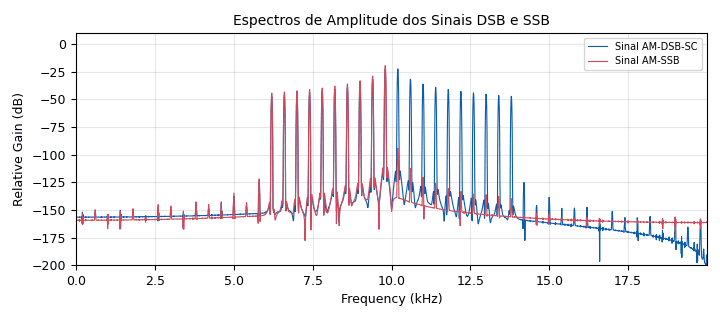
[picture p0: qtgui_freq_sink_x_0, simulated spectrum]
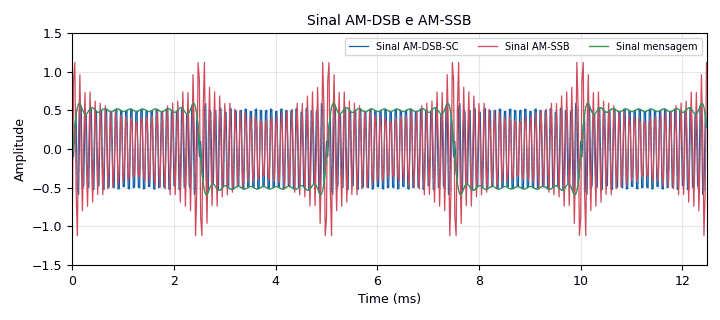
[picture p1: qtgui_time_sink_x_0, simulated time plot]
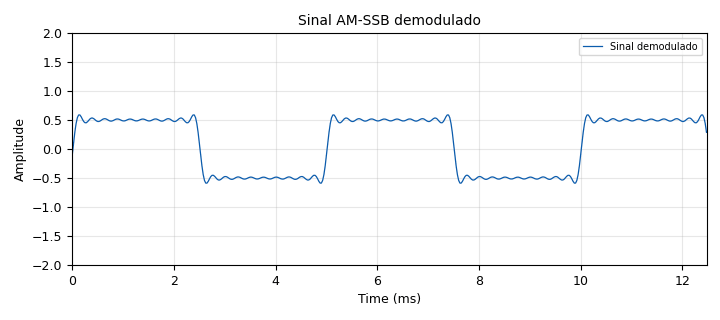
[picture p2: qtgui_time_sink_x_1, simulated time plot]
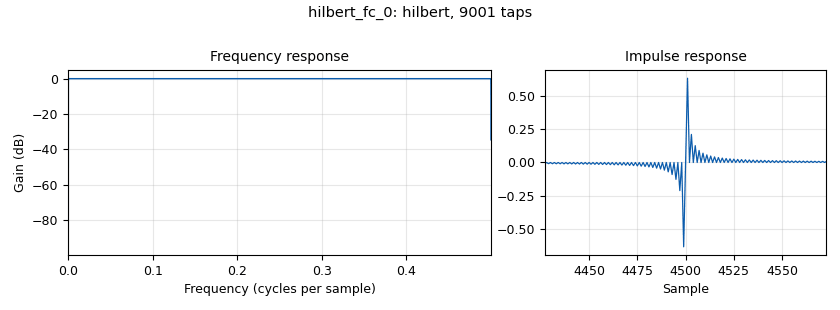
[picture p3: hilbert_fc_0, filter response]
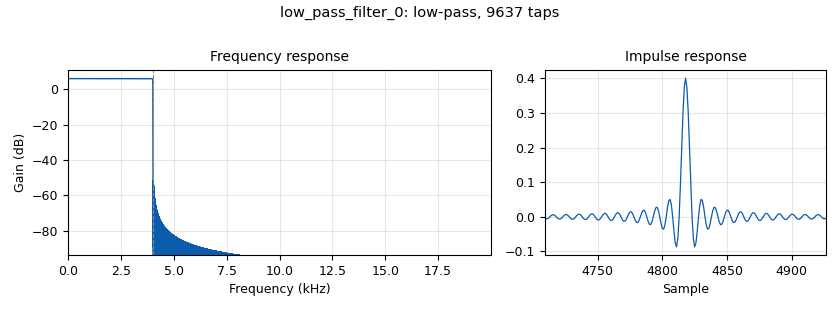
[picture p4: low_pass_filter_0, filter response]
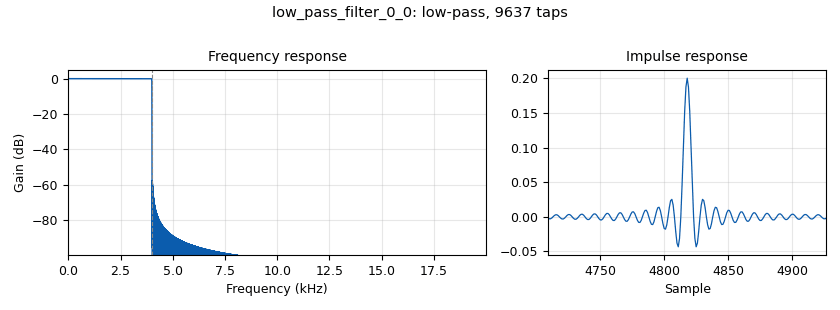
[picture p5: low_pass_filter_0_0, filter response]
options:
  parameters:
    category: Custom
    generate_options: qt_gui
    id: Labo3_3
    output_language: python
    title: Modulação AM-SSB
  states: {}

blocks:
- name: samp_rate
  id: variable
  parameters:
    value: '40000'
  states: {}
- name: Portadora
  id: analog_sig_source_x
  parameters:
    amp: '1'
    freq: '10000'
    offset: '0'
    phase: 3.14/4
    samp_rate: samp_rate
    type: complex
    waveform: analog.GR_COS_WAVE
  states: {}
- name: Sinal_Modulante
  id: analog_sig_source_x
  parameters:
    amp: '1'
    freq: '200'
    offset: '-0.5'
    phase: '0'
    samp_rate: samp_rate
    type: float
    waveform: analog.GR_SQR_WAVE
  states: {}
- name: blocks_add_xx_0_0
  id: blocks_add_xx
  parameters:
    type: float
  states: {}
- name: blocks_complex_to_imag_0
  id: blocks_complex_to_imag
  parameters: {}
  states: {}
- name: blocks_complex_to_imag_0_0
  id: blocks_complex_to_imag
  parameters: {}
  states: {}
- name: blocks_complex_to_real_0_0
  id: blocks_complex_to_real
  parameters: {}
  states: {}
- name: blocks_multiply_const_vxx_0
  id: blocks_multiply_const_vxx
  parameters:
    const: '1.414'
    type: float
  states: {}
- name: blocks_multiply_xx_0_0
  id: blocks_multiply_xx
  parameters:
    type: float
  states: {}
- name: blocks_multiply_xx_0_0_0
  id: blocks_multiply_xx
  parameters:
    type: float
  states: {}
- name: blocks_multiply_xx_0_0_1
  id: blocks_multiply_xx
  parameters:
    type: float
  states: {}
- name: blocks_throttle_0
  id: blocks_throttle
  parameters:
    samples_per_second: samp_rate
    type: float
  states: {}
- name: dc_blocker_xx_0
  id: dc_blocker_xx
  parameters:
    length: '512'
    long_form: 'True'
    type: ff
  states: {}
- name: hilbert_fc_0
  id: hilbert_fc
  parameters:
    num_taps: '9001'
  states: {}
- name: low_pass_filter_0
  id: low_pass_filter
  parameters:
    cutoff_freq: '4000'
    decim: '1'
    gain: '2'
    samp_rate: samp_rate
    type: fir_filter_fff
    width: '10'
    win: window.WIN_HAMMING
  states: {}
- name: low_pass_filter_0_0
  id: low_pass_filter
  parameters:
    cutoff_freq: '4000'
    decim: '1'
    gain: '1'
    samp_rate: samp_rate
    type: fir_filter_fff
    width: '10'
    win: window.WIN_HAMMING
  states: {}
- name: qtgui_freq_sink_x_0
  id: qtgui_freq_sink_x
  parameters:
    bw: samp_rate
    fc: '0'
    fftsize: '4096'
    freqhalf: 'False'
    grid: 'True'
    gui_hint: 0,1,1,1
    label1: Sinal AM-DSB-SC
    label2: Sinal AM-SSB
    name: Espectros de Amplitude dos Sinais DSB e SSB
    nconnections: '2'
    showports: 'True'
    type: float
    ymin: '-200'
  states: {}
- name: qtgui_time_sink_x_0
  id: qtgui_time_sink_x
  parameters:
    color3: black
    grid: 'True'
    gui_hint: 0,0,1,1
    label1: Sinal AM-DSB-SC
    label2: Sinal AM-SSB
    label3: Sinal mensagem
    name: Sinal AM-DSB e AM-SSB
    nconnections: '3'
    size: '500'
    srate: samp_rate
    tr_chan: '2'
    tr_level: '0.1'
    tr_mode: qtgui.TRIG_MODE_AUTO
    type: float
    ymax: '1.5'
    ymin: '-1.5'
  states: {}
- name: qtgui_time_sink_x_1
  id: qtgui_time_sink_x
  parameters:
    label1: Sinal demodulado
    name: Sinal AM-SSB demodulado
    size: '500'
    srate: samp_rate
    tr_level: '0.01'
    tr_mode: qtgui.TRIG_MODE_AUTO
    type: float
    ymax: '2'
    ymin: '-2'
  states: {}

connections:
- [Portadora, '0', blocks_complex_to_imag_0, '0']
- [Portadora, '0', blocks_complex_to_real_0_0, '0']
- [Sinal_Modulante, '0', low_pass_filter_0_0, '0']
- [blocks_add_xx_0_0, '0', blocks_multiply_xx_0_0_1, '0']
- [blocks_add_xx_0_0, '0', qtgui_freq_sink_x_0, '1']
- [blocks_add_xx_0_0, '0', qtgui_time_sink_x_0, '1']
- [blocks_complex_to_imag_0, '0', blocks_multiply_xx_0_0, '1']
- [blocks_complex_to_imag_0, '0', blocks_multiply_xx_0_0_1, '1']
- [blocks_complex_to_imag_0_0, '0', blocks_multiply_xx_0_0_0, '0']
- [blocks_complex_to_real_0_0, '0', blocks_multiply_xx_0_0_0, '1']
- [blocks_multiply_const_vxx_0, '0', qtgui_freq_sink_x_0, '0']
- [blocks_multiply_const_vxx_0, '0', qtgui_time_sink_x_0, '0']
- [blocks_multiply_xx_0_0, '0', blocks_add_xx_0_0, '1']
- [blocks_multiply_xx_0_0, '0', blocks_multiply_const_vxx_0, '0']
- [blocks_multiply_xx_0_0_0, '0', blocks_add_xx_0_0, '0']
- [blocks_multiply_xx_0_0_1, '0', low_pass_filter_0, '0']
- [blocks_throttle_0, '0', blocks_multiply_xx_0_0, '0']
- [blocks_throttle_0, '0', qtgui_time_sink_x_0, '2']
- [dc_blocker_xx_0, '0', qtgui_time_sink_x_1, '0']
- [hilbert_fc_0, '0', blocks_complex_to_imag_0_0, '0']
- [low_pass_filter_0, '0', dc_blocker_xx_0, '0']
- [low_pass_filter_0_0, '0', blocks_throttle_0, '0']
- [low_pass_filter_0_0, '0', hilbert_fc_0, '0']

metadata:
  file_format: 1
  grc_version: 3.10.7.0
